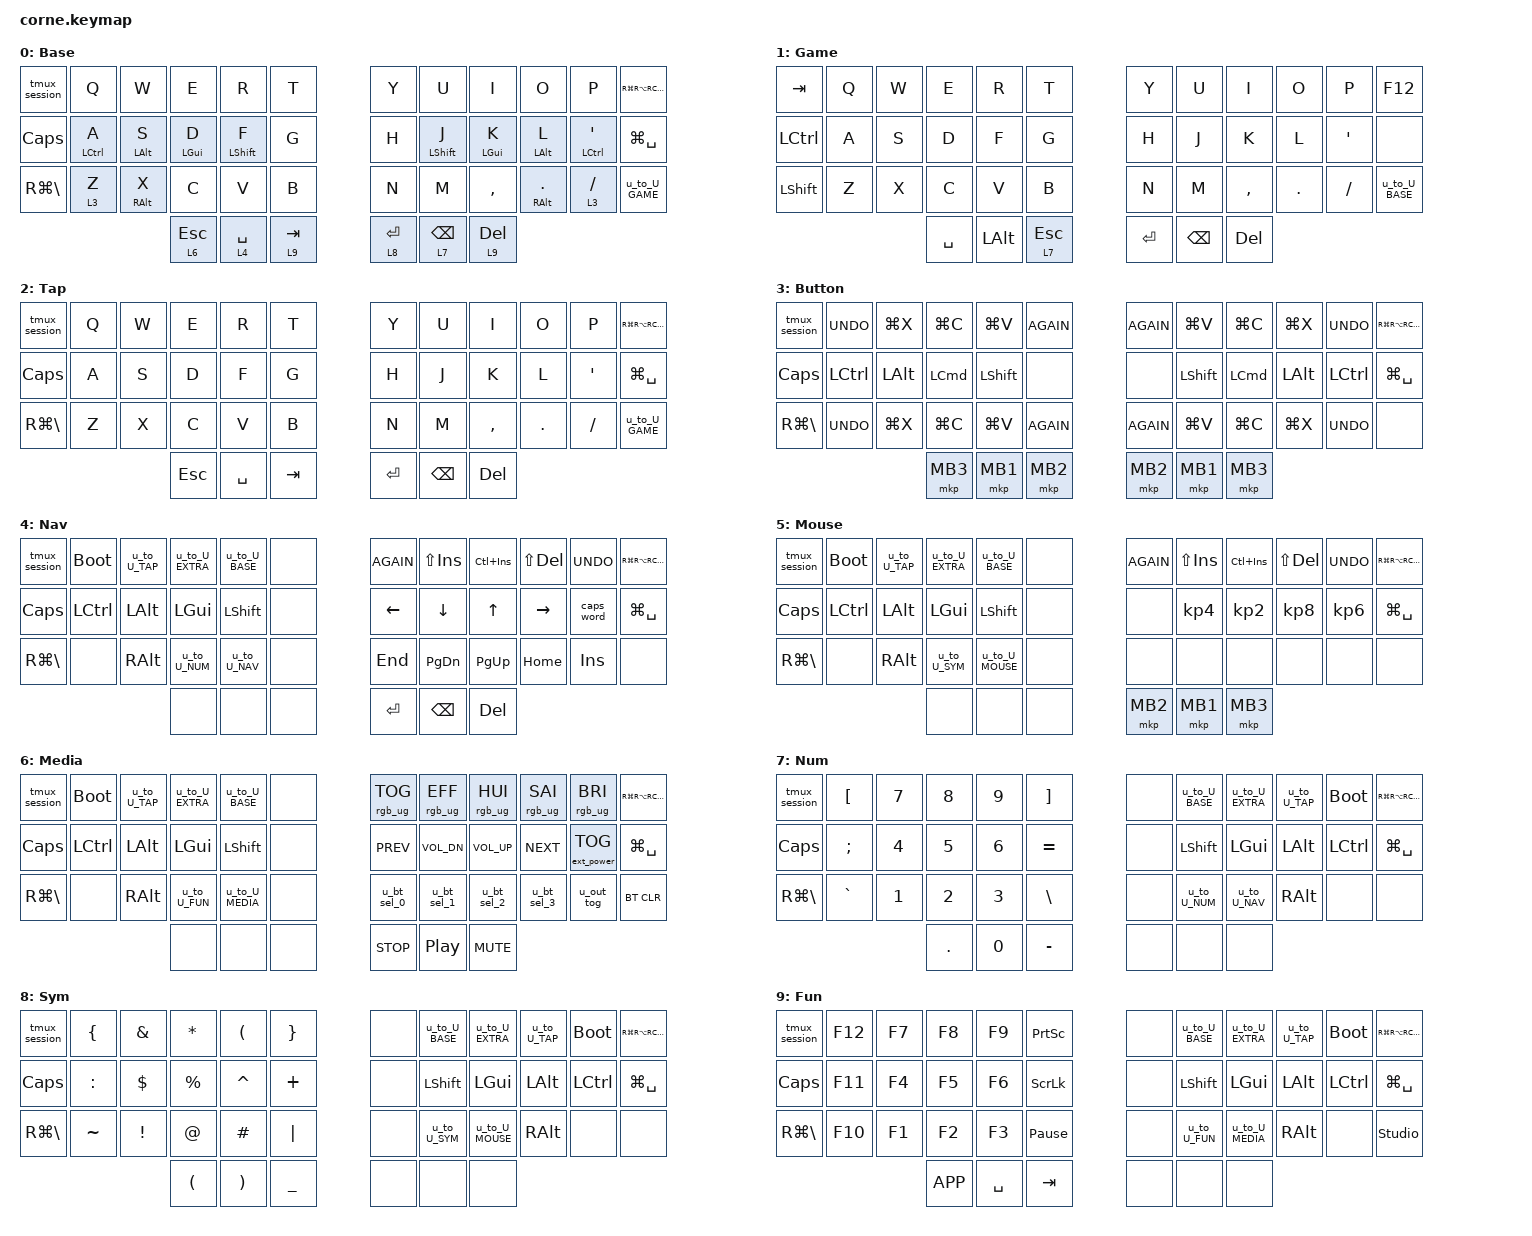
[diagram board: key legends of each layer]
#include <dt-bindings/zmk/mouse.h>
#include <behaviors.dtsi>
#include <dt-bindings/zmk/bt.h>
#include <dt-bindings/zmk/ext_power.h>
#include <dt-bindings/zmk/keys.h>
#include <dt-bindings/zmk/outputs.h>
#include <dt-bindings/zmk/pointing.h>
#include <dt-bindings/zmk/rgb.h>

/ {
    keymap {
        compatible = "zmk,keymap";

        BASE {
            label = "Base";
            bindings = <
&tmux_session      &kp Q          &kp W         &kp E         &kp R          &kp T          &kp Y        &kp U          &kp I         &kp O           &kp P            &kp RG(RA(RC(T)))
&kp CAPS           &u_mt LCTRL A  &u_mt LALT S  &u_mt LGUI D  &u_mt LSHFT F  &kp G          &kp H        &u_mt LSHFT J  &u_mt LGUI K  &u_mt LALT L    &u_mt LCTRL SQT  &kp LG(SPACE)
&kp RG(BACKSLASH)  &u_lt 3 Z      &u_mt RALT X  &kp C         &kp V          &kp B          &kp N        &kp M          &kp COMMA     &u_mt RALT DOT  &u_lt 3 SLASH    &u_to_U_GAME
                                                &u_lt 6 ESC   &u_lt 4 SPACE  &u_lt 9 TAB    &u_lt 8 RET  &u_lt 7 BSPC   &u_lt 9 DEL
            >;
        };

        GAME {
            label = "Game";
            bindings = <
&kp TAB     &kp Q  &kp W  &kp E      &kp R     &kp T        &kp Y    &kp U     &kp I      &kp O    &kp P     &kp F12
&kp LCTRL   &kp A  &kp S  &kp D      &kp F     &kp G        &kp H    &kp J     &kp K      &kp L    &kp SQT   &none
&kp LSHIFT  &kp Z  &kp X  &kp C      &kp V     &kp B        &kp N    &kp M     &kp COMMA  &kp DOT  &kp FSLH  &u_to_U_BASE
                          &kp SPACE  &kp LALT  &lt 7 ESC    &kp RET  &kp BSPC  &kp DEL
            >;
        };

        TAP {
            label = "Tap";
            bindings = <
&tmux_session      &kp Q  &kp W  &kp E    &kp R      &kp T      &kp Y    &kp U     &kp I      &kp O    &kp P      &kp RG(RA(RC(T)))
&kp CAPS           &kp A  &kp S  &kp D    &kp F      &kp G      &kp H    &kp J     &kp K      &kp L    &kp SQT    &kp LG(SPACE)
&kp RG(BACKSLASH)  &kp Z  &kp X  &kp C    &kp V      &kp B      &kp N    &kp M     &kp COMMA  &kp DOT  &kp SLASH  &u_to_U_GAME
                                 &kp ESC  &kp SPACE  &kp TAB    &kp RET  &kp BSPC  &kp DEL
            >;
        };

        BUTTON {
            label = "Button";
            bindings = <
&tmux_session      &kp K_UNDO  &kp LG(X)  &kp LG(C)  &kp LG(V)  &kp K_AGAIN    &kp K_AGAIN  &kp LG(V)  &kp LG(C)  &kp LG(X)  &kp K_UNDO  &kp RG(RA(RC(T)))
&kp CAPS           &kp LCTRL   &kp LALT   &kp LCMD   &kp LSHFT  &none          &none        &kp LSHFT  &kp LCMD   &kp LALT   &kp LCTRL   &kp LG(SPACE)
&kp RG(BACKSLASH)  &kp K_UNDO  &kp LG(X)  &kp LG(C)  &kp LG(V)  &kp K_AGAIN    &kp K_AGAIN  &kp LG(V)  &kp LG(C)  &kp LG(X)  &kp K_UNDO  &none
                                          &mkp MB3   &mkp MB1   &mkp MB2       &mkp MB2     &mkp MB1   &mkp MB3
            >;
        };

        NAV {
            label = "Nav";
            bindings = <
&tmux_session      &bootloader  &u_to_U_TAP  &u_to_U_EXTRA  &u_to_U_BASE  &none    &kp K_AGAIN     &kp LS(INS)     &kp LC(INS)   &kp LS(DEL)      &kp K_UNDO  &kp RG(RA(RC(T)))
&kp CAPS           &kp LCTRL    &kp LALT     &kp LGUI       &kp LSHFT     &none    &kp LEFT_ARROW  &kp DOWN_ARROW  &kp UP_ARROW  &kp RIGHT_ARROW  &caps_word  &kp LG(SPACE)
&kp RG(BACKSLASH)  &none        &kp RALT     &u_to_U_NUM    &u_to_U_NAV   &none    &kp END         &kp PAGE_DOWN   &kp PAGE_UP   &kp HOME         &kp INS     &none
                                             &none          &none         &none    &kp RET         &kp BSPC        &kp DEL
            >;
        };

        MOUSE {
            label = "Mouse";
            bindings = <
&tmux_session      &bootloader  &u_to_U_TAP  &u_to_U_EXTRA  &u_to_U_BASE   &none    &kp K_AGAIN  &kp LS(INS)  &kp LC(INS)  &kp LS(DEL)  &kp K_UNDO  &kp RG(RA(RC(T)))
&kp CAPS           &kp LCTRL    &kp LALT     &kp LGUI       &kp LSHFT      &none    &none        &kp KP_N4    &kp KP_N2    &kp KP_N8    &kp KP_N6   &kp LG(SPACE)
&kp RG(BACKSLASH)  &none        &kp RALT     &u_to_U_SYM    &u_to_U_MOUSE  &none    &none        &none        &none        &none        &none       &none
                                             &none          &none          &none    &mkp MB2     &mkp MB1     &mkp MB3
            >;
        };

        MEDIA {
            label = "Media";
            bindings = <
&tmux_session      &bootloader  &u_to_U_TAP  &u_to_U_EXTRA  &u_to_U_BASE   &none    &rgb_ug RGB_TOG  &rgb_ug RGB_EFF  &rgb_ug RGB_HUI  &rgb_ug RGB_SAI  &rgb_ug RGB_BRI    &kp RG(RA(RC(T)))
&kp CAPS           &kp LCTRL    &kp LALT     &kp LGUI       &kp LSHFT      &none    &kp C_PREV       &kp C_VOL_DN     &kp C_VOL_UP     &kp C_NEXT       &ext_power EP_TOG  &kp LG(SPACE)
&kp RG(BACKSLASH)  &none        &kp RALT     &u_to_U_FUN    &u_to_U_MEDIA  &none    &u_bt_sel_0      &u_bt_sel_1      &u_bt_sel_2      &u_bt_sel_3      &u_out_tog         &bt BT_CLR
                                             &none          &none          &none    &kp C_STOP       &kp C_PP         &kp C_MUTE
            >;
        };

        NUM {
            label = "Num";
            bindings = <
&tmux_session      &kp LBKT   &kp N7  &kp N8   &kp N9  &kp RBKT     &none  &u_to_U_BASE  &u_to_U_EXTRA  &u_to_U_TAP  &bootloader  &kp RG(RA(RC(T)))
&kp CAPS           &kp SEMI   &kp N4  &kp N5   &kp N6  &kp EQUAL    &none  &kp LSHFT     &kp LGUI       &kp LALT     &kp LCTRL    &kp LG(SPACE)
&kp RG(BACKSLASH)  &kp GRAVE  &kp N1  &kp N2   &kp N3  &kp BSLH     &none  &u_to_U_NUM   &u_to_U_NAV    &kp RALT     &none        &none
                                      &kp DOT  &kp N0  &kp MINUS    &none  &none         &none
            >;
        };

        SYM {
            label = "Sym";
            bindings = <
&tmux_session      &kp LBRC   &kp AMPS  &kp ASTRK  &kp LPAR   &kp RBRC     &none  &u_to_U_BASE  &u_to_U_EXTRA  &u_to_U_TAP  &bootloader  &kp RG(RA(RC(T)))
&kp CAPS           &kp COLON  &kp DLLR  &kp PRCNT  &kp CARET  &kp PLUS     &none  &kp LSHFT     &kp LGUI       &kp LALT     &kp LCTRL    &kp LG(SPACE)
&kp RG(BACKSLASH)  &kp TILDE  &kp EXCL  &kp AT     &kp HASH   &kp PIPE     &none  &u_to_U_SYM   &u_to_U_MOUSE  &kp RALT     &none        &none
                                        &kp LPAR   &kp RPAR   &kp UNDER    &none  &none         &none
            >;
        };

        FUN {
            label = "Fun";
            bindings = <
&tmux_session      &kp F12  &kp F7  &kp F8     &kp F9     &kp PSCRN          &none  &u_to_U_BASE  &u_to_U_EXTRA  &u_to_U_TAP  &bootloader  &kp RG(RA(RC(T)))
&kp CAPS           &kp F11  &kp F4  &kp F5     &kp F6     &kp SLCK           &none  &kp LSHFT     &kp LGUI       &kp LALT     &kp LCTRL    &kp LG(SPACE)
&kp RG(BACKSLASH)  &kp F10  &kp F1  &kp F2     &kp F3     &kp PAUSE_BREAK    &none  &u_to_U_FUN   &u_to_U_MEDIA  &kp RALT     &none        &studio_unlock
                                    &kp K_APP  &kp SPACE  &kp TAB            &none  &none         &none
            >;
        };
    };
};

/ {
    macros {
        u_macro_u_bt_sel_0: u_macro_u_bt_sel_0 {
            label = "ZM_u_macro_u_bt_sel_0";
            compatible = "zmk,behavior-macro";
            #binding-cells = <0>;
            wait-ms = <0>;
            bindings = <&bt BT_SEL 0 &bt BT_CLR>;
        };
    };
};

/ {
    behaviors {
        u_bt_sel_0: u_bt_sel_0 {
            compatible = "zmk,behavior-mod-morph";
            label = "u_bt_sel_0";
            #binding-cells = <0>;
            bindings = <&bt BT_SEL 0>, <&u_macro_u_bt_sel_0>;

            mods = <(MOD_LSFT|MOD_RSFT)>;
        };
    };
};

/ {
    macros {
        u_macro_u_bt_sel_1: u_macro_u_bt_sel_1 {
            label = "ZM_u_macro_u_bt_sel_1";
            compatible = "zmk,behavior-macro";
            #binding-cells = <0>;
            wait-ms = <0>;
            bindings = <&bt BT_SEL 1 &bt BT_CLR>;
        };
    };
};

/ {
    behaviors {
        u_bt_sel_1: u_bt_sel_1 {
            compatible = "zmk,behavior-mod-morph";
            label = "u_bt_sel_1";
            #binding-cells = <0>;
            bindings = <&bt BT_SEL 1>, <&u_macro_u_bt_sel_1>;

            mods = <(MOD_LSFT|MOD_RSFT)>;
        };
    };
};

/ {
    macros {
        u_macro_u_bt_sel_2: u_macro_u_bt_sel_2 {
            label = "ZM_u_macro_u_bt_sel_2";
            compatible = "zmk,behavior-macro";
            #binding-cells = <0>;
            wait-ms = <0>;
            bindings = <&bt BT_SEL 2 &bt BT_CLR>;
        };
    };
};

/ {
    behaviors {
        u_bt_sel_2: u_bt_sel_2 {
            compatible = "zmk,behavior-mod-morph";
            label = "u_bt_sel_2";
            #binding-cells = <0>;
            bindings = <&bt BT_SEL 2>, <&u_macro_u_bt_sel_2>;

            mods = <(MOD_LSFT|MOD_RSFT)>;
        };
    };
};

/ {
    macros {
        u_macro_u_bt_sel_3: u_macro_u_bt_sel_3 {
            label = "ZM_u_macro_u_bt_sel_3";
            compatible = "zmk,behavior-macro";
            #binding-cells = <0>;
            wait-ms = <0>;
            bindings = <&bt BT_SEL 3 &bt BT_CLR>;
        };
    };
};

/ {
    behaviors {
        u_bt_sel_3: u_bt_sel_3 {
            compatible = "zmk,behavior-mod-morph";
            label = "u_bt_sel_3";
            #binding-cells = <0>;
            bindings = <&bt BT_SEL 3>, <&u_macro_u_bt_sel_3>;

            mods = <(MOD_LSFT|MOD_RSFT)>;
        };
    };
};

/ {
    macros {
        u_macro_u_bt_sel_4: u_macro_u_bt_sel_4 {
            label = "ZM_u_macro_u_bt_sel_4";
            compatible = "zmk,behavior-macro";
            #binding-cells = <0>;
            wait-ms = <0>;
            bindings = <&bt BT_SEL 4 &bt BT_CLR>;
        };
    };
};

/ {
    behaviors {
        u_bt_sel_4: u_bt_sel_4 {
            compatible = "zmk,behavior-mod-morph";
            label = "u_bt_sel_4";
            #binding-cells = <0>;
            bindings = <&bt BT_SEL 4>, <&u_macro_u_bt_sel_4>;

            mods = <(MOD_LSFT|MOD_RSFT)>;
        };
    };
};

/ {
    behaviors {
        u_out_tog: u_out_tog {
            compatible = "zmk,behavior-mod-morph";
            label = "u_out_tog";
            #binding-cells = <0>;
            bindings = <&out OUT_TOG>, <&out OUT_USB>;

            mods = <(MOD_LSFT|MOD_RSFT)>;
        };
    };
};

/ {
    behaviors {
        u_caps_word: u_caps_word {
            compatible = "zmk,behavior-mod-morph";
            label = "u_caps_word";
            #binding-cells = <0>;
            bindings = <&caps_word>, <&kp CAPS>;

            mods = <(MOD_LSFT|MOD_RSFT)>;
        };
    };
};

/ {
    behaviors {
        u_to_U_BASE: u_to_U_BASE {
            compatible = "zmk,behavior-tap-dance";
            label = "u_to_U_BASE";
            #binding-cells = <0>;
            tapping-term-ms = <200>;
            bindings = <&none>, <&to 0>;
        };
    };
};

/ {
    behaviors {
        u_to_U_GAME: u_to_U_GAME {
            compatible = "zmk,behavior-tap-dance";
            label = "u_to_U_GAME";
            #binding-cells = <0>;
            tapping-term-ms = <200>;
            bindings = <&kp RS(RA(RC(RG(SPACE))))>, <&to 1>;
        };
    };
};

/ {
    behaviors {
        u_to_U_EXTRA: u_to_U_EXTRA {
            compatible = "zmk,behavior-tap-dance";
            label = "u_to_U_EXTRA";
            #binding-cells = <0>;
            tapping-term-ms = <200>;
            bindings = <&none>, <&to 0>;
        };
    };
};

/ {
    behaviors {
        u_to_U_TAP: u_to_U_TAP {
            compatible = "zmk,behavior-tap-dance";
            label = "u_to_U_TAP";
            #binding-cells = <0>;
            tapping-term-ms = <200>;
            bindings = <&none>, <&to 2>;
        };
    };
};

/ {
    behaviors {
        u_to_U_BUTTON: u_to_U_BUTTON {
            compatible = "zmk,behavior-tap-dance";
            label = "u_to_U_BUTTON";
            #binding-cells = <0>;
            tapping-term-ms = <200>;
            bindings = <&none>, <&to 3>;
        };
    };
};

/ {
    behaviors {
        u_to_U_NAV: u_to_U_NAV {
            compatible = "zmk,behavior-tap-dance";
            label = "u_to_U_NAV";
            #binding-cells = <0>;
            tapping-term-ms = <200>;
            bindings = <&none>, <&to 4>;
        };
    };
};

/ {
    behaviors {
        u_to_U_MOUSE: u_to_U_MOUSE {
            compatible = "zmk,behavior-tap-dance";
            label = "u_to_U_MOUSE";
            #binding-cells = <0>;
            tapping-term-ms = <200>;
            bindings = <&none>, <&to 5>;
        };
    };
};

/ {
    behaviors {
        u_to_U_MEDIA: u_to_U_MEDIA {
            compatible = "zmk,behavior-tap-dance";
            label = "u_to_U_MEDIA";
            #binding-cells = <0>;
            tapping-term-ms = <200>;
            bindings = <&none>, <&to 6>;
        };
    };
};

/ {
    behaviors {
        u_to_U_NUM: u_to_U_NUM {
            compatible = "zmk,behavior-tap-dance";
            label = "u_to_U_NUM";
            #binding-cells = <0>;
            tapping-term-ms = <200>;
            bindings = <&none>, <&to 7>;
        };
    };
};

/ {
    behaviors {
        u_to_U_SYM: u_to_U_SYM {
            compatible = "zmk,behavior-tap-dance";
            label = "u_to_U_SYM";
            #binding-cells = <0>;
            tapping-term-ms = <200>;
            bindings = <&none>, <&to 8>;
        };
    };
};

/ {
    behaviors {
        u_to_U_FUN: u_to_U_FUN {
            compatible = "zmk,behavior-tap-dance";
            label = "u_to_U_FUN";
            #binding-cells = <0>;
            tapping-term-ms = <200>;
            bindings = <&none>, <&to 9>;
        };
    };
};

/ {
    macros {
        u_macro_btn1: u_macro_btn1 {
            label = "ZM_u_macro_btn1";
            compatible = "zmk,behavior-macro";
            #binding-cells = <0>;
            wait-ms = <0>;
            bindings = <&kp KP_SLASH &kp KP_N5>;
        };
    };
};

/ {
    macros {
        u_macro_btn2: u_macro_btn2 {
            label = "ZM_u_macro_btn2";
            compatible = "zmk,behavior-macro";
            #binding-cells = <0>;
            wait-ms = <0>;
            bindings = <&kp KP_MINUS &kp KP_N5>;
        };
    };
};

/ {
    macros {
        u_macro_btn3: u_macro_btn3 {
            label = "ZM_u_macro_btn3";
            compatible = "zmk,behavior-macro";
            #binding-cells = <0>;
            wait-ms = <0>;
            bindings = <&kp KP_ASTERISK &kp KP_N5>;
        };

        tmux_session: tmux_session {
            compatible = "zmk,behavior-macro";
            #binding-cells = <0>;
            bindings = <&kp LA(T) &kp GRAVE &kp T>;
            label = "TMUX_SESSION";
            wait-ms = <200>;
        };
    };
};

/ {
    behaviors {
        u_mt: u_mt {
            compatible = "zmk,behavior-hold-tap";
            label = "u_mt";
            #binding-cells = <2>;
            tapping_term_ms = <200>;
            flavor = "tap-preferred";
            bindings = <&kp>, <&kp>;
        };

        u_lt: u_lt {
            compatible = "zmk,behavior-hold-tap";
            label = "u_lt";
            #binding-cells = <2>;
            tapping_term_ms = <200>;
            flavor = "tap-preferred";
            bindings = <&mo>, <&kp>;
        };

        ctrl_cmd: ctrl_cmd {
            compatible = "zmk,behavior-tap-dance";
            label = "CTRL_CMD";
            #binding-cells = <0>;
            bindings = <&kp LCTRL>, <&kp LCMD>;

            tapping-term-ms = <200>;
        };
    };
};
